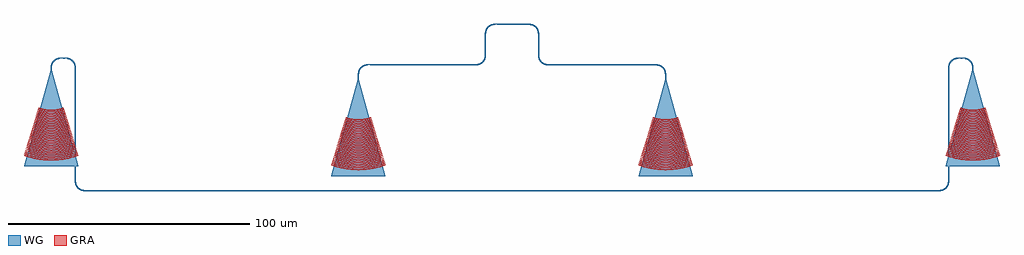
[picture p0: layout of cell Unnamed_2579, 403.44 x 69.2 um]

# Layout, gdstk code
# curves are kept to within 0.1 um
from math import pi, radians
import gdstk
lib = gdstk.Library(unit=1e-6, precision=1e-09)
def R(c, l, rs):  # rectangles x0, y0, x1, y1
    for r in rs: c.add(gdstk.rectangle(r[:2], r[2:], *l))
def P(c, l, *ps):  # polygons
    for p in ps: c.add(gdstk.Polygon(p, *l))
WG = (3, 0)
GRA = (6, 0)

straight_l10_wnone_csxs_ = lib.new_cell('straight_L10_WNone_CSxs_sc')
R(straight_l10_wnone_csxs_, WG, [(0,-0.225,10,0.225)])

bend_euler_rnone_a90_p0_ = lib.new_cell('bend_euler_RNone_A90_P0_836efce1')
P(bend_euler_rnone_a90_p0_, WG, [(0,-0.225),(0,0.225),(1.363,0.269),(2.275,0.438),(3.032,0.758),(3.717,1.283),(4.242,1.968),(4.562,2.725),(4.731,3.637),(4.775,5),(5.225,5),(5.179,3.593),(4.994,2.599),(4.632,1.743),(4.035,0.965),(3.257,0.368),(2.401,0.006),(1.407,-0.179)])

straight_l0p5_n2_csxs_sc = lib.new_cell('straight_L0p5_N2_CSxs_sc_W0p45')
R(straight_l0p5_n2_csxs_sc, WG, [(0,-0.225,0.5,0.225)])

straight_l1_n2_csxs_sc_w = lib.new_cell('straight_L1_N2_CSxs_sc_W0p45')
R(straight_l1_n2_csxs_sc_w, WG, [(0,-0.225,1,0.225)])

grating_coupler_ellipti_ = lib.new_cell('grating_coupler_ellipti_5cf72084')
P(grating_coupler_ellipti_, WG, [(40.832,-11.166),(1.283,-0.225),(1.283,0.225),(40.832,11.166),(41.033,11.166),(41.033,-11.166)])
P(grating_coupler_ellipti_, GRA, [(16.874,-5.271),(16.74,-5.094),(17.134,-3.82),(17.414,-2.518),(17.578,-1.197),(17.624,-0.134),(17.596,0.932),(17.494,1.992),(17.199,3.561),(16.74,5.094),(16.874,5.271),(17.09,5.216),(17.621,3.383),(17.894,1.769),(17.994,0.136),(17.922,-1.498),(17.678,-3.116),(17.421,-4.177),(17.09,-5.216)],
  [(17.526,-5.471),(17.391,-5.293),(17.8,-3.969),(18.091,-2.616),(18.261,-1.243),(18.309,-0.138),(18.28,0.967),(18.173,2.069),(17.867,3.7),(17.391,5.293),(17.526,5.471),(17.741,5.415),(18.292,3.512),(18.575,1.837),(18.679,0.142),(18.604,-1.555),(18.351,-3.234),(18.084,-4.336),(17.741,-5.415)],
  [(18.175,-5.668),(18.041,-5.491),(18.466,-4.117),(18.768,-2.714),(18.919,-1.576),(18.994,-0.143),(18.964,1.004),(18.853,2.146),(18.536,3.839),(18.041,5.491),(18.175,5.668),(18.391,5.613),(18.963,3.64),(19.256,1.904),(19.364,0.147),(19.287,-1.612),(19.024,-3.353),(18.747,-4.495),(18.391,-5.613)],
  [(18.826,-5.866),(18.692,-5.689),(19.132,-4.266),(19.491,-2.518),(19.627,-1.337),(19.679,-0.148),(19.648,1.041),(19.533,2.224),(19.204,3.977),(18.692,5.689),(18.826,5.866),(19.042,5.811),(19.634,3.769),(19.937,1.971),(20.049,0.152),(19.969,-1.669),(19.697,-3.471),(19.41,-4.653),(19.042,-5.811)],
  [(19.478,-6.065),(19.343,-5.887),(19.798,-4.415),(20.169,-2.606),(20.311,-1.383),(20.364,-0.155),(20.331,1.077),(20.213,2.302),(19.873,4.117),(19.343,5.887),(19.478,6.065),(19.693,6.009),(20.073,4.812),(20.37,3.59),(20.618,2.038),(20.734,0.157),(20.651,-1.726),(20.37,-3.59),(20.073,-4.812),(19.693,-6.009)],
  [(20.127,-6.263),(19.993,-6.086),(20.464,-4.563),(20.848,-2.694),(20.994,-1.43),(21.049,-0.16),(20.994,1.43),(20.848,2.694),(20.464,4.563),(19.993,6.086),(20.127,6.263),(20.343,6.208),(20.737,4.971),(21.043,3.708),(21.299,2.106),(21.419,0.162),(21.333,-1.783),(21.043,-3.708),(20.737,-4.971),(20.343,-6.208)],
  [(20.779,-6.462),(20.644,-6.284),(21.21,-4.393),(21.526,-2.782),(21.677,-1.477),(21.734,-0.164),(21.699,1.149),(21.573,2.456),(21.21,4.393),(20.644,6.284),(20.779,6.462),(20.994,6.406),(21.4,5.13),(21.716,3.827),(21.981,2.173),(22.104,0.168),(22.016,-1.84),(21.716,-3.827),(21.4,-5.13),(20.994,-6.406)],
  [(21.428,-6.659),(21.294,-6.482),(21.878,-4.532),(22.205,-2.869),(22.36,-1.523),(22.419,-0.169),(22.36,1.523),(22.205,2.869),(21.878,4.532),(21.294,6.482),(21.428,6.659),(21.644,6.604),(22.063,5.288),(22.389,3.945),(22.662,2.24),(22.789,0.173),(22.698,-1.897),(22.389,-3.945),(22.063,-5.288),(21.644,-6.604)],
  [(22.08,-6.859),(21.945,-6.681),(22.461,-5.01),(22.883,-2.957),(23.043,-1.57),(23.104,-0.174),(23.043,1.57),(22.883,2.957),(22.461,5.01),(21.945,6.681),(22.08,6.859),(22.295,6.803),(22.726,5.447),(23.061,4.063),(23.343,2.307),(23.474,0.178),(23.38,-1.954),(23.061,-4.063),(22.726,-5.447),(22.295,-6.803)],
  [(22.729,-7.056),(22.595,-6.879),(23.215,-4.809),(23.561,-3.045),(23.726,-1.616),(23.789,-0.179),(23.726,1.616),(23.561,3.045),(23.215,4.809),(22.595,6.879),(22.729,7.056),(22.945,7.001),(23.389,5.606),(23.734,4.182),(24.024,2.374),(24.159,0.183),(24.062,-2.011),(23.805,-3.823),(23.485,-5.252),(23.065,-6.656),(22.945,-7.001)],
  [(23.38,-7.254),(23.246,-7.077),(23.793,-5.307),(24.24,-3.133),(24.409,-1.663),(24.474,-0.186),(24.409,1.663),(24.24,3.133),(23.793,5.307),(23.246,7.077),(23.38,7.254),(23.596,7.199),(24.052,5.765),(24.407,4.3),(24.745,2.068),(24.844,0.188),(24.745,-2.068),(24.48,-3.931),(24.151,-5.401),(23.719,-6.844),(23.596,-7.199)],
  [(24.031,-7.452),(23.897,-7.275),(24.552,-5.087),(24.918,-3.221),(25.093,-1.709),(25.159,-0.19),(25.093,1.709),(24.918,3.221),(24.552,5.087),(23.897,7.275),(24.031,7.452),(24.247,7.397),(24.373,7.033),(24.817,5.55),(25.08,4.419),(25.427,2.124),(25.529,0.194),(25.427,-2.124),(25.155,-4.039),(24.817,-5.55),(24.373,-7.033),(24.247,-7.397)],
  [(24.681,-7.651),(24.547,-7.474),(25.125,-5.605),(25.597,-3.308),(25.776,-1.756),(25.844,-0.195),(25.776,1.756),(25.597,3.308),(25.125,5.605),(24.547,7.474),(24.681,7.651),(24.897,7.596),(25.027,7.221),(25.483,5.699),(25.753,4.537),(26.109,2.181),(26.214,0.199),(26.144,-1.786),(25.83,-4.147),(25.483,-5.699),(25.151,-6.844),(24.897,-7.596)],
  [(25.332,-7.849),(25.198,-7.672),(25.791,-5.753),(26.275,-3.396),(26.459,-1.803),(26.529,-0.2),(26.459,1.803),(26.275,3.396),(25.791,5.753),(25.198,7.672),(25.332,7.849),(25.548,7.794),(25.681,7.41),(26.149,5.847),(26.426,4.656),(26.749,2.643),(26.899,0.204),(26.827,-1.833),(26.505,-4.256),(26.149,-5.847),(25.808,-7.022),(25.548,-7.794)],
  [(25.982,-8.047),(25.848,-7.87),(26.457,-5.902),(26.953,-3.484),(27.142,-1.849),(27.214,-0.205),(27.142,1.849),(26.953,3.484),(26.457,5.902),(25.848,7.87),(25.982,8.047),(26.198,7.992),(26.335,7.598),(26.815,5.996),(27.099,4.774),(27.43,2.711),(27.584,0.209),(27.474,-2.295),(27.18,-4.364),(26.815,-5.996),(26.465,-7.201),(26.198,-7.992)],
  [(26.633,-8.246),(26.499,-8.069),(27.122,-6.051),(27.632,-3.572),(27.825,-1.896),(27.899,-0.211),(27.825,1.896),(27.632,3.572),(27.122,6.051),(26.499,8.069),(26.633,8.246),(26.849,8.191),(26.989,7.787),(27.48,6.145),(27.772,4.892),(28.111,2.778),(28.269,0.215),(28.156,-2.352),(27.855,-4.472),(27.585,-5.729),(27.122,-7.379),(26.849,-8.191)],
  [(27.285,-8.445),(27.15,-8.267),(27.894,-5.78),(28.31,-3.66),(28.508,-1.942),(28.584,-0.216),(28.508,1.942),(28.31,3.66),(27.894,5.78),(27.15,8.267),(27.285,8.445),(27.5,8.389),(27.643,7.975),(28.146,6.293),(28.445,5.011),(28.792,2.845),(28.954,0.22),(28.838,-2.409),(28.53,-4.58),(28.254,-5.868),(27.78,-7.558),(27.5,-8.389)],
  [(27.934,-8.642),(27.8,-8.465),(28.454,-6.348),(28.989,-3.747),(29.191,-1.989),(29.269,-0.221),(29.191,1.989),(28.989,3.747),(28.454,6.348),(27.8,8.465),(27.934,8.642),(28.15,8.587),(28.297,8.164),(28.695,6.876),(29.118,5.129),(29.473,2.912),(29.639,0.225),(29.52,-2.466),(29.205,-4.689),(28.922,-6.007),(28.437,-7.737),(28.15,-8.587)],
  [(28.585,-8.84),(28.451,-8.663),(29.12,-6.497),(29.596,-4.283),(29.875,-2.036),(29.954,-0.226),(29.875,2.036),(29.667,3.835),(29.231,6.057),(28.876,7.37),(28.451,8.663),(28.585,8.84),(28.801,8.785),(28.951,8.352),(29.358,7.035),(29.791,5.248),(30.154,2.98),(30.276,1.607),(30.324,0.23),(30.243,-2.066),(29.88,-4.797),(29.591,-6.145),(29.094,-7.915),(28.801,-8.785)],
  [(29.235,-9.039),(29.101,-8.862),(29.786,-6.646),(30.273,-4.381),(30.558,-2.082),(30.639,-0.231),(30.558,2.082),(30.345,3.923),(30.102,5.292),(29.786,6.646),(29.101,8.862),(29.235,9.039),(29.451,8.984),(29.605,8.541),(30.144,6.74),(30.464,5.366),(30.711,3.979),(30.885,2.58),(31.009,0.235),(30.984,-1.174),(30.885,-2.58),(30.555,-4.905),(30.259,-6.284),(29.751,-8.094),(29.451,-8.984)],
  [(29.886,-9.237),(29.752,-9.06),(30.452,-6.794),(30.775,-5.411),(31.024,-4.011),(31.241,-2.129),(31.324,-0.236),(31.241,2.129),(31.024,4.011),(30.775,5.411),(30.452,6.794),(29.752,9.06),(29.886,9.237),(30.102,9.182),(30.259,8.729),(30.81,6.888),(31.137,5.485),(31.517,3.114),(31.644,1.679),(31.694,0.24),(31.669,-1.2),(31.567,-2.637),(31.23,-5.013),(30.81,-6.888),(30.409,-8.272),(30.102,-9.182)],
  [(30.536,-9.435),(30.402,-9.258),(31.118,-6.943),(31.626,-4.577),(31.924,-2.175),(32.009,-0.242),(31.924,2.175),(31.702,4.099),(31.448,5.529),(31.118,6.943),(30.402,9.258),(30.536,9.435),(30.752,9.38),(30.913,8.918),(31.476,7.037),(31.81,5.603),(32.198,3.181),(32.327,1.715),(32.379,0.246),(32.353,-1.226),(32.249,-2.694),(31.905,-5.122),(31.596,-6.561),(31.066,-8.451),(30.752,-9.38)],
  [(31.187,-9.634),(31.053,-9.457),(31.784,-7.092),(32.303,-4.675),(32.607,-2.222),(32.694,-0.247),(32.607,2.222),(32.381,4.186),(32.121,5.647),(31.784,7.092),(31.053,9.457),(31.187,9.634),(31.403,9.579),(31.567,9.106),(32.142,7.186),(32.483,5.721),(32.879,3.249),(33.011,1.753),(33.064,0.251),(33.038,-1.252),(32.931,-2.751),(32.58,-5.23),(32.142,-7.186),(31.723,-8.63),(31.403,-9.579)],
  [(31.839,-9.833),(31.704,-9.655),(32.45,-7.241),(32.98,-4.773),(33.246,-2.772),(33.379,-0.252),(33.29,2.269),(33.059,4.275),(32.794,5.766),(32.45,7.241),(31.704,9.655),(31.839,9.833),(32.054,9.777),(32.221,9.294),(32.808,7.335),(33.156,5.84),(33.425,4.329),(33.614,2.808),(33.749,0.256),(33.722,-1.278),(33.614,-2.808),(33.255,-5.338),(32.808,-7.335),(32.38,-8.808),(32.054,-9.777)],
  [(32.488,-10.03),(32.354,-9.853),(33.115,-7.389),(33.657,-4.871),(33.974,-2.315),(34.064,-0.257),(33.974,2.315),(33.737,4.363),(33.241,6.889),(32.838,8.382),(32.354,9.853),(32.488,10.03),(32.704,9.975),(32.875,9.483),(33.337,7.987),(33.829,5.958),(34.241,3.383),(34.379,1.824),(34.434,0.261),(34.342,-2.345),(34.176,-3.901),(33.93,-5.446),(33.601,-6.977),(33.038,-8.987),(32.704,-9.975)],
  [(33.139,-10.228),(33.005,-10.051),(33.781,-7.538),(34.333,-4.969),(34.657,-2.362),(34.749,-0.262),(34.657,2.362),(34.416,4.45),(33.91,7.028),(33.498,8.551),(33.005,10.051),(33.139,10.228),(33.355,10.173),(33.695,9.166),(34.139,7.632),(34.502,6.077),(34.922,3.45),(35.063,1.86),(35.119,0.266),(35.025,-2.392),(34.856,-3.978),(34.605,-5.555),(34.27,-7.116),(33.695,-9.166),(33.355,-10.173)],
  [(33.789,-10.427),(33.655,-10.25),(34.447,-7.687),(35.01,-5.067),(35.34,-2.408),(35.434,-0.268),(35.34,2.408),(35.094,4.538),(34.813,6.121),(34.447,7.687),(33.655,10.25),(33.789,10.427),(34.005,10.372),(34.352,9.344),(34.805,7.781),(35.175,6.195),(35.603,3.518),(35.747,1.897),(35.804,0.272),(35.708,-2.438),(35.536,-4.056),(35.28,-5.663),(34.938,-7.255),(34.352,-9.344),(34.005,-10.372)],
  [(34.44,-10.625),(34.306,-10.448),(35.113,-7.835),(35.687,-5.165),(35.975,-2.999),(36.119,-0.273),(36.023,2.455),(35.773,4.625),(35.486,6.24),(35.113,7.835),(34.306,10.448),(34.44,10.625),(34.656,10.57),(35.009,9.523),(35.471,7.929),(35.848,6.314),(36.285,3.585),(36.431,1.933),(36.489,0.277),(36.46,-1.381),(36.343,-3.035),(35.955,-5.771),(35.471,-7.929),(35.009,-9.523),(34.656,-10.57)],
  [(35.091,-10.823),(34.957,-10.646),(35.779,-7.984),(36.364,-5.263),(36.706,-2.502),(36.804,-0.278),(36.706,2.502),(36.451,4.713),(35.915,7.444),(35.479,9.057),(34.957,10.646),(35.091,10.823),(35.307,10.768),(35.666,9.701),(36.137,8.078),(36.521,6.432),(36.966,3.652),(37.115,1.969),(37.174,0.282),(37.144,-1.407),(37.025,-3.092),(36.629,-5.879),(36.275,-7.532),(35.666,-9.701),(35.307,-10.768)],
  [(35.741,-11.021),(35.607,-10.844),(36.445,-8.133),(37.04,-5.361),(37.389,-2.548),(37.489,-0.283),(37.389,2.548),(37.13,4.801),(36.832,6.476),(36.445,8.133),(35.607,10.844),(35.741,11.021),(35.957,10.966),(36.324,9.88),(36.803,8.227),(37.194,6.55),(37.647,3.719),(37.798,2.006),(37.859,0.287),(37.829,-1.433),(37.707,-3.149),(37.304,-5.988),(36.943,-7.671),(36.324,-9.88),(35.957,-10.966)],
  [(36.392,-11.22),(36.258,-11.043),(37.111,-8.282),(37.717,-5.459),(38.072,-2.595),(38.174,-0.288),(38.072,2.595),(37.808,4.889),(37.504,6.595),(37.111,8.282),(36.258,11.043),(36.392,11.22),(36.608,11.165),(36.981,10.059),(37.612,7.809),(37.979,6.096),(38.389,3.206),(38.544,0.292),(38.513,-1.459),(38.389,-3.206),(37.979,-6.096),(37.612,-7.809),(36.981,-10.059),(36.608,-11.165)])

straight_l1p225_n2_csxs_ = lib.new_cell('straight_L1p225_N2_CSxs_sc_W0p45')
R(straight_l1p225_n2_csxs_, WG, [(0,-0.225,1.225,0.225)])

straight_l42p5_n2_csxs_s = lib.new_cell('straight_L42p5_N2_CSxs_sc_W0p45')
R(straight_l42p5_n2_csxs_s, WG, [(0,-0.225,42.5,0.225)])

straight_l6p22500000000_ = lib.new_cell('straight_L6p22500000000_15e7f3ef')
R(straight_l6p22500000000_, WG, [(0,-0.225,6.225,0.225)])

straight_l44p75_n2_csxs_ = lib.new_cell('straight_L44p75_N2_CSxs_sc_W0p45')
R(straight_l44p75_n2_csxs_, WG, [(0,-0.225,44.75,0.225)])

straight_l351_n2_csxs_sc = lib.new_cell('straight_L351_N2_CSxs_sc_W0p45')
R(straight_l351_n2_csxs_sc, WG, [(0,-0.225,351,0.225)])

unnamed_2579 = lib.new_cell('Unnamed_2579')
unnamed_2579.add(gdstk.Reference(straight_l10_wnone_csxs_, (0,0)))
unnamed_2579.add(gdstk.Reference(bend_euler_rnone_a90_p0_, (-1,0), rotation=pi))
unnamed_2579.add(gdstk.Reference(straight_l0p5_n2_csxs_sc, (-6,-5), rotation=3*pi/2))
unnamed_2579.add(gdstk.Reference(straight_l1_n2_csxs_sc_w, (-1,0)))
unnamed_2579.add(gdstk.Reference(bend_euler_rnone_a90_p0_, (11,0), x_reflection=True))
unnamed_2579.add(gdstk.Reference(straight_l0p5_n2_csxs_sc, (16,-5), rotation=3*pi/2))
unnamed_2579.add(gdstk.Reference(straight_l1_n2_csxs_sc_w, (11,0), rotation=pi))
unnamed_2579.add(gdstk.Reference(grating_coupler_ellipti_, (-58.5,-21.667), rotation=3*pi/2))
unnamed_2579.add(gdstk.Reference(grating_coupler_ellipti_, (68.5,-21.667), rotation=3*pi/2))
unnamed_2579.add(gdstk.Reference(bend_euler_rnone_a90_p0_, (63.5,-16.725), x_reflection=True))
unnamed_2579.add(gdstk.Reference(straight_l1p225_n2_csxs_, (68.5,-21.725), rotation=3*pi/2))
unnamed_2579.add(gdstk.Reference(bend_euler_rnone_a90_p0_, (16,-11.725), rotation=3*pi/2))
unnamed_2579.add(gdstk.Reference(straight_l42p5_n2_csxs_s, (21,-16.725)))
unnamed_2579.add(gdstk.Reference(straight_l6p22500000000_, (16,-11.725), rotation=pi/2))
unnamed_2579.add(gdstk.Reference(bend_euler_rnone_a90_p0_, (-53.5,-16.725), rotation=pi))
unnamed_2579.add(gdstk.Reference(straight_l1p225_n2_csxs_, (-58.5,-21.725), rotation=3*pi/2))
unnamed_2579.add(gdstk.Reference(bend_euler_rnone_a90_p0_, (-6,-11.725), rotation=3*pi/2, x_reflection=True))
unnamed_2579.add(gdstk.Reference(straight_l42p5_n2_csxs_s, (-11,-16.725), rotation=pi))
unnamed_2579.add(gdstk.Reference(straight_l6p22500000000_, (-6,-11.725), rotation=pi/2))
unnamed_2579.add(gdstk.Reference(grating_coupler_ellipti_, (-185.5,-17.717), rotation=3*pi/2))
unnamed_2579.add(gdstk.Reference(grating_coupler_ellipti_, (195.5,-17.717), rotation=3*pi/2))
unnamed_2579.add(gdstk.Reference(bend_euler_rnone_a90_p0_, (-180.5,-14), rotation=pi))
unnamed_2579.add(gdstk.Reference(bend_euler_rnone_a90_p0_, (-175.5,-19), rotation=pi/2))
unnamed_2579.add(gdstk.Reference(bend_euler_rnone_a90_p0_, (-170.5,-68.75), rotation=pi, x_reflection=True))
unnamed_2579.add(gdstk.Reference(straight_l44p75_n2_csxs_, (-175.5,-63.75), rotation=pi/2))
unnamed_2579.add(gdstk.Reference(bend_euler_rnone_a90_p0_, (185.5,-63.75), rotation=3*pi/2, x_reflection=True))
unnamed_2579.add(gdstk.Reference(straight_l351_n2_csxs_sc, (180.5,-68.75), rotation=pi))
unnamed_2579.add(gdstk.Reference(bend_euler_rnone_a90_p0_, (190.5,-14), rotation=pi))
unnamed_2579.add(gdstk.Reference(straight_l44p75_n2_csxs_, (185.5,-19), rotation=3*pi/2))
unnamed_2579.add(gdstk.Reference(bend_euler_rnone_a90_p0_, (195.5,-19), rotation=pi/2))

lib.write_gds('Unnamed_2579.gds')
